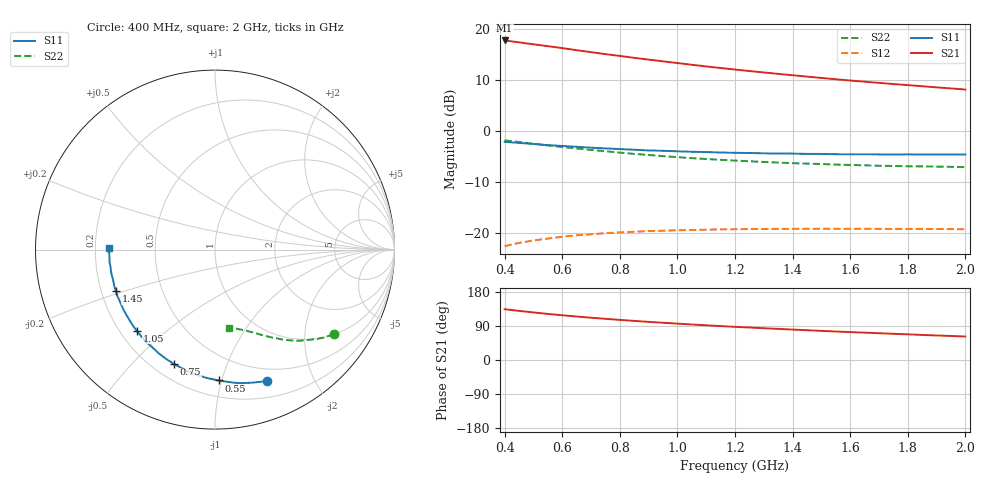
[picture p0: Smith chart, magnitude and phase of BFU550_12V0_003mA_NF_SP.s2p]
! Filename:  P:\Prog\Test\Noise\ATS_data\Testdata_Net\06 Compressed Noise after Statistics\BFU550_APG2013_43_D05_12p0V_003mA_NF_CM01_D.sf
! Date/Time: Fri 26/Apr/2013 13:07:24
! BFU550_APG2013_43_D05_12p0V_1to35mA_NF_CM01_Bias3_R.sf
! Noise Parameter Data File
! BFU550_APG2013_43_D05_12p0V_1to35mA_NF_CM01
! Date/time: Thu Apr 25 18:42:45 2013
! VAR V_out= 12.001000
! VAR I_out= 3.000000
! VAR V_in= 0.793700
! VAR I_in= 0.026005
! Device data file deembeded for feedlines and parallel
! Original file: \06 Compressed Noise after Statistics\BFU550_APG2013_43_D05_12p0V_003mA_NF_CM01_R.sf
! Feed-files: PR047V01_250413_Feed1.s2p, PR047V01_250413_Feed2.s2p
! Parallel-file: PR047V01_250413_Par.s2p
# MHz S MA R 50
!  Freq-MHz  S11-mag  S11-arg  S21-mag  S21-arg  S12-mag  S12-arg  S22-mag  S22-arg
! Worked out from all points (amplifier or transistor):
!   37 points, 400 MHz to 2 GHz, reference 50 ohm
!   highest |S21| = 17.8 dB at 400 MHz (marker M1)
!   |S21| within 3 dB of that: start of sweep to 793.8 MHz
!   unconditionally stable (mu >= 1): nowhere
!   at 500 MHz: K = 0.22, MSG = 19.3 dB, |S12| = -21.5 dB
!   at 1.1 GHz: K = 0.46, MSG = 16.1 dB, |S12| = -19.4 dB
!   at 2 GHz: K = 0.83, MSG = 13.7 dB, |S12| = -19.3 dB
!   lowest NFmin = 0.55 dB at 420 MHz
!   S11 on the Smith chart (normalised r, x): 400 MHz: 0.37, -1.41; 550 MHz: 0.31, -0.98; 750 MHz: 0.28, -0.67; 1.05 GHz: 0.27, -0.40; 1.45 GHz: 0.26, -0.19; 2 GHz: 0.26, +0.01
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400  0.7863 -68.4  7.803 134.0  0.07404 52.8  0.8117 -35.4
440  0.7708 -74.0  7.547 130.4  0.07857 50.2  0.7884 -38.0
460  0.7633 -76.7  7.41 128.8  0.08066 48.9  0.7776 -39.2
500  0.749 -82.0  7.157 125.6  0.08426 46.6  0.7536 -41.4
550  0.7295 -88.4  6.854 121.6  0.08791 43.9  0.7241 -44.0
600  0.7157 -94.1  6.569 118.1  0.09159 41.6  0.6999 -46.4
650  0.7023 -99.5  6.256 114.8  0.09472 39.4  0.6772 -48.5
700  0.6885 -104.7  5.992 111.6  0.09693 37.4  0.6548 -50.5
750  0.6774 -109.6  5.726 108.7  0.09936 35.6  0.6353 -52.3
800  0.6671 -114.2  5.495 105.8  0.1011 34.0  0.6157 -54.0
850  0.6574 -118.6  5.265 103.2  0.1027 32.5  0.5982 -55.5
900  0.6467 -122.8  5.057 100.6  0.1042 31.2  0.5841 -57.1
950  0.6417 -126.6  4.864 98.3  0.1051 30.0  0.5683 -58.6
1050  0.6276 -134.0  4.5 93.7  0.1068 27.9  0.5434 -61.2
1200  0.613 -143.8  4.04 87.5  0.1086 25.3  0.514 -64.7
1300  0.6059 -149.4  3.78 83.8  0.1093 24.1  0.4981 -66.8
1450  0.5983 -157.5  3.441 78.5  0.1098 22.6  0.48 -69.8
1500  0.5974 -159.9  3.339 76.8  0.1099 22.2  0.4753 -70.8
1600  0.5922 -164.7  3.15 73.6  0.1096 21.6  0.4656 -72.7
1750  0.5896 -171.2  2.909 69.1  0.1095 21.1  0.4548 -75.5
1850  0.5898 -175.2  2.767 66.1  0.1095 20.9  0.451 -77.3
2000  0.5892 179.3  2.568 62.0  0.1086 21.1  0.444 -80.1
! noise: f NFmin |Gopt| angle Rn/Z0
400  0.5876  0.3399  35.11  0.1531
460  0.5993  0.3217  42.45  0.1338
600  0.6364  0.3316  49.82  0.1332
800  0.6846  0.3395  66.32  0.1283
1000  0.7329  0.3498  80.58  0.1216
1200  0.8128  0.3676  96.27  0.1098
1400  0.7986  0.3951  110.6  0.0944
1600  0.8768  0.3706  124.9  0.0871
1800  0.8047  0.4181  139.8  0.0628
2000  0.9828  0.4284  153.3  0.0632
